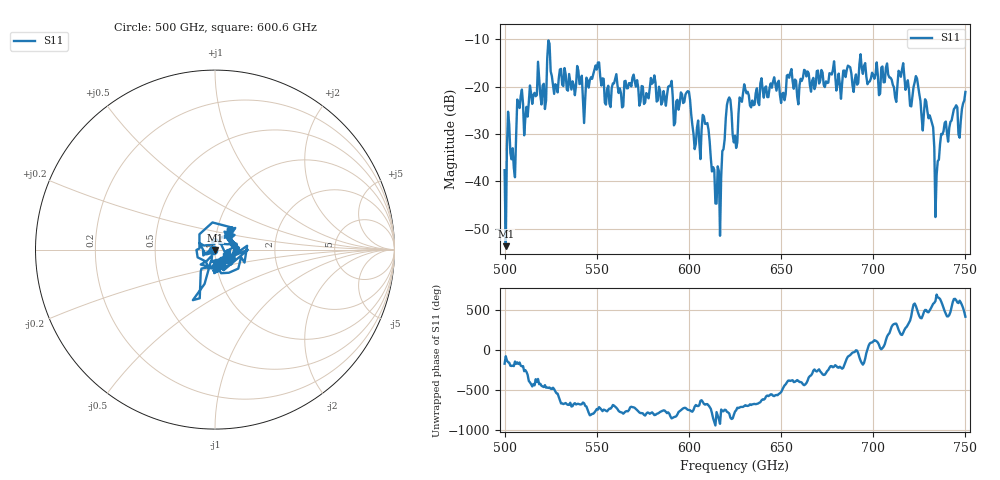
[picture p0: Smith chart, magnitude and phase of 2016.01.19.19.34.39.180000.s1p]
!Created with skrf (http://scikit-rf.org).
# GHz S RI R 50.0
!freq ReS11 ImS11
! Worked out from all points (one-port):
!   401 points, 500 GHz to 750 GHz, reference 50 ohm
!   lowest |S11| = -53.7 dB at 500.6 GHz (marker M1), VSWR 1.00, Z = 50 - j0.2 ohm
!   |S11| at or under -10 dB: start of sweep to end of sweep
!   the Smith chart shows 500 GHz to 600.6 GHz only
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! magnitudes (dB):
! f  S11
! 500 GHz  -37.7
! 500.6 GHz  -53.7
! 502.5 GHz  -28.0
! 505 GHz  -37.2
! 508.1 GHz  -24.5
! 521.2 GHz  -19.4
! 524.4 GHz  -10.9
! 527.5 GHz  -19.5
! 531.2 GHz  -19.6
! 543.8 GHz  -22.4
! 550 GHz  -16.4
! 562.5 GHz  -20.4
! 580.6 GHz  -19.0
! 593.8 GHz  -22.8
! 599.4 GHz  -21.0
! 605 GHz  -27.2
! 608.8 GHz  -27.9
! 615.6 GHz  -36.9
! 621.2 GHz  -22.8
! 625 GHz  -30.4
! 630.6 GHz  -20.6
! 656.2 GHz  -18.8
! 687.5 GHz  -15.9
! 718.8 GHz  -18.7
! 729.4 GHz  -25.2
! 734.4 GHz  -38.7
! 738.1 GHz  -29.4
! 750 GHz  -21.1
